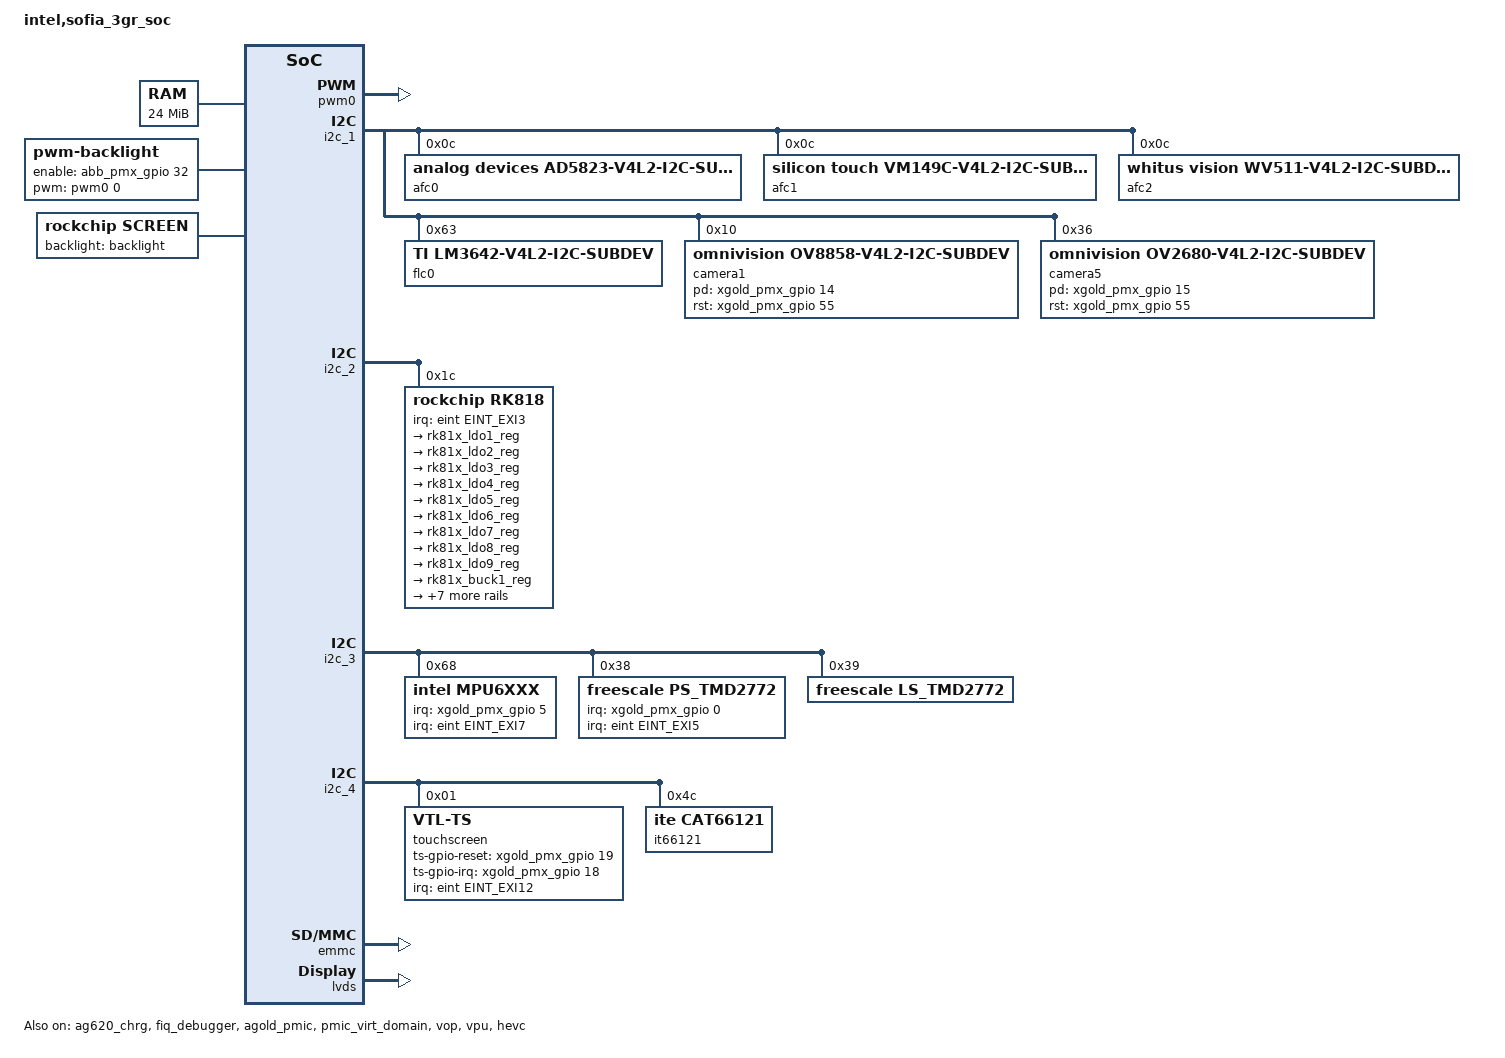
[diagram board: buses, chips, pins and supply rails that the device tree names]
/dts-v1/;


#include "xgold/sofia_3gr_soc/irq.h"
#include <dt-bindings/sensor-dev.h>
#include <dt-bindings/sofiafb/sofia_fb.h>

/ {
	#address-cells = <1>;
	#size-cells = <1>;
	model = "intel,sofia_3gr_soc";
	compatible = "intel,sofia_3gr_soc-svb", "intel,xgold";

	#include "xgold/sofia_3gr_soc/sofia_3gr_soc.dtsi"
	#include "xgold/sofia_3gr_soc/irq.dtsi"
	#include "xgold/mobilevisor/mobilevisor.dtsi"
	#include "xgold/sofia_3gr_soc/clock-es1.dtsi"
	#include "xgold/sofia_3gr_soc/regulator.dtsi"
	#include "xgold/sofia_3gr_soc/device-pm-reg.dtsi"
	#include "xgold/sofia_3gr_soc/cpufreq.dtsi"
	#include "xgold/pmic/granite.dtsi"
	#include "xgold/pmic/agold_pmic.dtsi"
	#include "xgold/pmic/syr82x.dtsi"
	#include "xgold/pmic/pmic_virt_domain.dtsi"
	chosen {
	};

	aliases {
	};

	memory {
		device_type = "memory";
		reg = <0x800000 0x1800000>;
	};

	reserved-memory {
		#address-cells = <1>;
		#size-cells = <1>;
		ranges;

		/* global autoconfigured region for contiguous allocations */
		cma_default_region: region@0 {
			size = <0x0A400000>; /* 164 MiB */
			limit = <0x20000000>; /* 512 MiB */
			linux,cma-default;
		};
		/* special region for secured processing devices */
		secured_region: region@8000000 {
			reg = <0x08000000 0x08000000>;
			no-map;
			linux,cma;
		};
	};

	vmodem {
		compatible = "intel,vmodem";
		reg = < 0x1D000000 0x02C00000 >;
	};

	ion {
		compatible = "rockchip,ion";
		#address-cells = <1>;
		#size-cells = <0>;
#ifndef RECOVERY_KERNEL
		secvm-handler;
#endif
		cma-heap {
			memory-region = <&cma_default_region>;
			rockchip,ion_heap = <4>;
		};
		system-heap {
			rockchip,ion_heap = <0>;
		};
		secured-heap {
			memory-region = <&secured_region>;
			rockchip,ion_heap = <5>;
		};
	};

	backlight: pwm-backlight {
                compatible = "pwm-backlight";
                brightness-levels = <
                         20  20  20  20  20  20  20  20
                         20  20  20  20  20  20  20  20
                         20  20  20  20  20  21  22  23
                         24  25  26  27  28  29  30  31
                         32  33  34  35  36  37  38  39
                         40  41  42  43  44  45  46  47
                         48  49  50  51  52  53  54  55
                         56  57  58  59  60  61  62  63
                         64  65  66  67  68  69  70  71
                         72  73  74  75  76  77  78  79
                         80  81  82  83  84  85  86  87
                         88  89  90  91  92  93  94  95
                         96  97  98  99 100 101 102 103
                        104 105 106 107 108 109 110 111
                        112 113 114 115 116 117 118 119
                        120 121 122 123 124 125 126 127
                        128 129 130 131 132 133 134 135
                        136 137 138 139 140 141 142 143
                        144 145 146 147 148 149 150 151
                        152 153 154 155 156 157 158 159
                        160 161 162 163 164 165 166 167
                        168 169 170 171 172 173 174 175
                        176 177 178 179 180 181 182 183
                        184 185 186 187 188 189 190 191
                        192 193 194 195 196 197 198 199
                        200 201 202 203 204 205 206 207
                        208 209 210 211 212 213 214 215
                        216 217 218 219 220 221 222 223
                        224 225 226 227 228 229 230 231
                        232 233 234 235 236 237 238 239
                        240 241 242 243 244 245 246 247
                        248 249 250 251 252 253 254 255>;
                default-brightness-level = <128>;
                enable-gpios = <&abb_pmx_gpio 32 0>;
                pinctrl-names = "default", "sleep", "inactive";
                pinctrl-0 = <&led_agold_default_pins>;
                pinctrl-1 = <&led_agold_sleep_pins>;
                pinctrl-2 = <&led_agold_inactive_pins>;
                pwms = <&pwm0 0 25000 PWM_POLARITY_INVERTED>;
        };

	hallsensor {
		compatible = "hall_och165t";
	  	interrupt-parent = <&eint>;
	  	interrupts = <EINT_EXI11 XGOLD_IRQ_TYPE_EDGE_FALLING>;
	  	pinctrl-names = "default", "sleep", "inactive";
	  	pinctrl-0 = <&hall_default_pins>;
	  	pinctrl-1 = <&hall_sleep_pins>;
	  	pinctrl-2 = <&hall_inactive_pins>;
		irq-gpio = <&xgold_pmx_gpio 32 IRQ_TYPE_LEVEL_LOW>;
		status = "disabled";
	};

	fb {
		compatible = "rockchip,fb";
		rockchip,disp-mode = <NO_DUAL>;
		rockchip,loader-logo-on = <1>;
		rockchip,ion-drv = "rockchip";
	};

	loader-charge {
		compatible = "rockchip,loader-charge";
		rockchip,loader-charge-on = <0>;
		rockchip,loader-weak-volt = <0>;
		rockchip,loader-weak-volt-dcp = <0>;
		rockchip,loader-weak-volt-sdp = <0>;
		rockchip,android-charge-on = <0>;
	};

	screen {
		compatible = "rockchip,screen","intel,screen";
		pm,class-name = "generic_class";
		pm,user-name = "lcd";
		pm,state-D0 = "enable";
		pm,state-D3 = "disable";
		backlight = <&backlight>;

		#include "xgold/display/lcd-claa070wp03xg.dtsi"
	};

	chrg_det: chrg_det {
		compatible = "sofia,chrg_det";
		status = "disabled";
	};

#ifndef RECOVERY_KERNEL
	sound {
		compatible = "intel,xgold-snd-asoc";
		intel,audio-codec = < &afe >;
		intel,pcm-audio = <&pcm_music>;
		intel,pcm-voice = <&pcm_voice>;
		intel,speech = <&speech_probe>;
		intel,jack = <&headset>;
	};
#endif
};

&idi_per {
	#include "xgold/agold620/agold620.dtsi"
};

&ag620_chrg {
	status = "okay";
};

&abb_pmx_gpio {
       intel,gpiochip-base = <107>;
};

&usif1 {
	pinctrl-names = "default", "sleep", "inactive";
	pinctrl-0 = <&usif1_function_C_active_pins>;
	pinctrl-1 = <&usif1_function_C_sleep_pins>;
	pinctrl-2 = <&usif1_function_C_inactive_pins>;
	status = "disabled";
};

&usif2 {
	pinctrl-names = "default", "sleep", "inactive";
	pinctrl-0 = <&usif2_default_pins>;
	pinctrl-1 = <&usif2_sleep_pins>;
	pinctrl-2 = <&usif2_inactive_pins>;
	status = "disabled";
};

&fiq_debugger {
		status = "okay";
};

&pwm0 {
	pinctrl-names = "default", "sleep", "inactive";
	pinctrl-0 = <&pwm0_default_pins>;
	pinctrl-1 = <&pwm0_sleep_pins>;
	pinctrl-2 = <&pwm0_inactive_pins>;
	status = "okay";
};

/* xuhf@rock-chips.com: modify dts for Compatibling with a variety of cameras */
&i2c_1 {
	status = "okay";
	pinctrl-names = "default", "sleep", "inactive";
	pinctrl-0 = <&i2c1_default_pins>;
	pinctrl-1 = <&i2c1_sleep_pins>;
	pinctrl-2 = <&i2c1_inactive_pins>;

#ifndef RECOVERY_KERNEL
	afc0: af-controller@0 {
		//status = "disabled";
		compatible = "analog devices,ad5823-v4l2-i2c-subdev";
		reg = < 0x0C >;
	};

	afc1: af-controller@1 {
		//status = "disabled";
		compatible = "silicon touch,vm149C-v4l2-i2c-subdev";
		reg = < 0x0c >;
	};

	afc2: af-controller@2 {
		//status = "disabled";
		compatible = "whitus vision,wv511-v4l2-i2c-subdev";
		reg = < 0x0C >;
	};
#endif

#ifndef RECOVERY_KERNEL
	flc0:fl-controller@0 {
		//status = "disabled";
		compatible = "TI,lm3642-v4l2-i2c-subdev";
		reg = < 0x63 >;
	};
#endif

#ifndef RECOVERY_KERNEL
	camera0: camera-module@0 {
		status = "disabled";
		compatible = "omnivision,ov13850-v4l2-i2c-subdev";
		reg = < 0x10 >;/*addr is 0x6C when SID set 0,else is 0x20*/ 
		device_type = "v4l2-i2c-subdev";

		pinctrl-names = "default", "sleep", "inactive";
		pinctrl-0 = <&cam1_default_pins>;
		pinctrl-1 = <&cam1_sleep_pins>;
		pinctrl-2 = <&cam1_inactive_pins>;

		intel,pd-gpio = <&xgold_pmx_gpio 14 0>;
		intel,pd-gpio-is_active_high;
		intel,rst-gpio = <&xgold_pmx_gpio 55 0>;
		intel,rst-gpio-is_active_high;

		pm,class-name = "generic_class";
		pm,user-name = "primcam";
		pm,state-D0 = "enable";
		pm,state-D3 = "disable";


		intel,camera-module-facing = "back";
		intel,camera-module-mounting = "landscape";
		intel,camera-module-flash-support = <1>;
		intel,camera-module-flash-exp-time = <5000>;

		//intel,af-ctrl = <&afc0>;
		intel,camera-module-csi-config-0 {
			intel,csi-pixels-per-second = <0>;
			intel,csi-vc = <0>;
			intel,csi-lanes = <2>;
			intel,csi-dphy1 = <0x2014203>;
			intel,csi-dphy2 = <0x00>;
			intel,csi-ana-bandgap-bias = <3>;
		};
		intel,camera-module-csi-config-1 {
			intel,csi-pixels-per-second = <100000000>;
			intel,csi-vc = <0>;
			intel,csi-lanes = <4>;
			intel,csi-dphy1 = <0x600e241>;
			intel,csi-dphy2 = <0x00>;
			intel,csi-ana-bandgap-bias = <3>;
			intel,csi-used = <0>;
		};
	};
#endif

#ifndef RECOVERY_KERNEL
	camera1: camera-module@1 {
		//status = "disabled";
		compatible = "omnivision,OV8858-v4l2-i2c-subdev";
		reg = < 0x10 >;/*addr is 0x6C when SID set 0,else is 0x20*/
		device_type = "v4l2-i2c-subdev";

		pinctrl-names = "default", "sleep", "inactive";
		pinctrl-0 = <&cam1_default_pins>;
		pinctrl-1 = <&cam1_sleep_pins>;
		pinctrl-2 = <&cam1_inactive_pins>;

		intel,pd-gpio = <&xgold_pmx_gpio 14 0>;
		intel,pd-gpio-is_active_high;
		intel,rst-gpio = <&xgold_pmx_gpio 55 0>;
		intel,rst-gpio-is_active_high;
		/*intel.flash-driver = "LM3642";*/
		/*intel,fl-ctrl = <&flc0>;*/
		

		pm,class-name = "generic_class";
		pm,user-name = "primcam";
		pm,state-D0 = "enable";
		pm,state-D3 = "disable";

		intel,camera-module-facing = "back";
		intel,camera-module-mounting = "landscape";
		intel,camera-module-flash-support = <1>;
		intel,camera-module-flash-exp-time = <5000>;
		rockchip,camera-module-name = "cmk-cb0695-fv1";
		rockchip,camera-module-len-name = "lg9569a2";

		intel,af-ctrl = <&afc1>;
		intel,camera-module-csi-config-0 {
			intel,csi-pixels-per-second = <0>;
			intel,csi-vc = <0>;
			intel,csi-lanes = <4>;
			intel,csi-dphy1 = <0x610a203>;
			intel,csi-dphy2 = <0x00>;
			intel,csi-ana-bandgap-bias = <3>;
			intel,csi-used = <0>;
		};
	};
#endif

#ifndef RECOVERY_KERNEL
	camera2: camera-module@2 {
		status = "disabled";
		compatible = "omnivision,OV5648-v4l2-i2c-subdev";
		reg = < 0x36 >;/*addr is 0x6C when SID set 0,else is 0x20*/
		device_type = "v4l2-i2c-subdev";

		pinctrl-names = "default", "sleep", "inactive";
		pinctrl-0 = <&cam1_default_pins>;
		pinctrl-1 = <&cam1_sleep_pins>;
		pinctrl-2 = <&cam1_inactive_pins>;

		intel,pd-gpio = <&xgold_pmx_gpio 14 0>;
		intel,pd-gpio-is_active_high;
		intel,rst-gpio = <&xgold_pmx_gpio 55 0>;
		intel,rst-gpio-is_active_high;

		pm,class-name = "generic_class";
		pm,user-name = "primcam";
		pm,state-D0 = "enable";
		pm,state-D3 = "disable";

		intel,camera-module-facing = "back";
		intel,camera-module-mounting = "landscape";
		intel,camera-module-flash-support = <1>;
		intel,camera-module-flash-exp-time = <5000>;
		rockchip,camera-module-name = "cmk-cw2392-fv1";
		rockchip,camera-module-len-name = "m5101";

		intel,af-ctrl = <&afc1>;
		intel,camera-module-csi-config-0 {
			intel,csi-pixels-per-second = <0>;
			intel,csi-vc = <0>;
			intel,csi-lanes = <2>;
			intel,csi-dphy1 = <0x6208203>;
			intel,csi-dphy2 = <0x00>;
			intel,csi-ana-bandgap-bias = <3>;
			intel,csi-used = <0>;
		};
	};
#endif

#ifndef RECOVERY_KERNEL
	camera3: camera-module@3 {
		status = "disabled";
		compatible = "superpix,sp2508-v4l2-i2c-subdev";
		reg = < 0x3c >;
		device_type = "v4l2-i2c-subdev";

		pinctrl-names = "default", "sleep", "inactive";
		pinctrl-0 = <&cam1_default_pins>;
		pinctrl-1 = <&cam1_sleep_pins>;
		pinctrl-2 = <&cam1_inactive_pins>;

		intel,pd-gpio = <&xgold_pmx_gpio 14 0>;
		intel,pd-gpio_1v2 = <&xgold_pmx_gpio 68 0>;
		intel,pd-gpio-is_active_low;
		intel,rst-gpio = <&xgold_pmx_gpio 55 0>;
		intel,rst-gpio-is_active_low;

		pm,class-name = "generic_class";
		pm,user-name = "primcam";
		pm,state-D0 = "enable";
		pm,state-D3 = "disable";

		/* ["front","back"] */
		intel,camera-module-facing = "back";
		/* ["landscape","landscape-flipped","portrait","portrait-flipped"] */
		intel,camera-module-mounting = "landscape";
		intel,camera-module-flash-support = <1>;
		intel,camera-module-flash-exp-time = <5000>;

		intel,camera-module-csi-config-0 {
			intel,csi-pixels-per-second = <0>;
			intel,csi-vc = <0>;
			intel,csi-lanes = <1>;
			intel,csi-dphy1 = <0x608a241>;
			intel,csi-dphy2 = <0x00>;
			intel,csi-ana-bandgap-bias = <3>;
			intel,csi-used = <0>;
		};
	};
#endif

#ifndef RECOVERY_KERNEL
	camera4: camera-module@4 {
		status = "disabled";
		compatible = "galaxycore,gc2155-v4l2-i2c-subdev";
		reg = < 0x3C >;/*addr is 0x6C when SID set 0,else is 0x20*/ 
		device_type = "v4l2-i2c-subdev";
		pinctrl-names = "default", "sleep", "inactive";
		pinctrl-0 = <&cam1_default_pins>;
		pinctrl-1 = <&cam1_sleep_pins>;
		pinctrl-2 = <&cam1_inactive_pins>;

		intel,pd-gpio = <&xgold_pmx_gpio 14 0>;
		intel,pd-gpio-is_active_low;
		intel,rst-gpio = <&xgold_pmx_gpio 55 0>;
		intel,rst-gpio-is_active_high;
		//intel,pd-gpio_1v2 = <&xgold_pmx_gpio 68 0>;

		pm,class-name = "generic_class";
		pm,user-name = "primcam";
		pm,state-D0 = "enable";
		pm,state-D3 = "disable";

		/* ["front","back"] */
		intel,camera-module-facing = "back";
		/* ["landscape","landscape-flipped","portrait","portrait-flipped"] */
		intel,camera-module-mounting = "landscape";
		intel,camera-module-flash-support = <1>;
		intel,camera-module-flash-exp-time = <5000>;

		intel,camera-module-csi-config-0 {
			intel,csi-pixels-per-second = <0>;
			intel,csi-vc = <0>;
			intel,csi-lanes = <2>;
			intel,csi-dphy1 = <0x2014203>;
			intel,csi-dphy2 = <0x00>;
			intel,csi-ana-bandgap-bias = <3>;
			intel,csi-used = <0>;
		};
		intel,camera-module-csi-config-1 {
			intel,csi-pixels-per-second = <100000000>;
			intel,csi-vc = <0>;
			intel,csi-lanes = <4>;
			intel,csi-dphy1 = <0x600e241>;
			intel,csi-dphy2 = <0x00>;
			intel,csi-ana-bandgap-bias = <3>;
			intel,csi-used = <0>;
		};
	};
#endif

#ifndef RECOVERY_KERNEL
	camera5: camera-module@5 {
		//status = "disabled";
		compatible = "omnivision,ov2680-v4l2-i2c-subdev";
		reg = < 0x36 >;/*addr is 0x6C when SID set 0,else is 0x20*/
		device_type = "v4l2-i2c-subdev";

		pinctrl-names = "default", "sleep", "inactive";
		pinctrl-0 = <&cam2_default_pins>;
		pinctrl-1 = <&cam2_sleep_pins>;
		pinctrl-2 = <&cam2_inactive_pins>;

		intel,pd-gpio = <&xgold_pmx_gpio 15 0>;
		intel,pd-gpio-is_active_high;
		intel,rst-gpio = <&xgold_pmx_gpio 55 0>;
		intel,rst-gpio-is_active_high;

		pm,class-name = "generic_class";
		pm,user-name = "seccam";
		pm,state-D0 = "enable";
		pm,state-D3 = "disable";

		intel,camera-module-facing = "front";
		intel,camera-module-mounting = "landscape";
		intel,camera-module-flash-support = <1>;
		intel,camera-module-flash-exp-time = <5000>;
		rockchip,camera-module-name = "cmk-cb0695-fv1";
		rockchip,camera-module-len-name = "cht835b";

		intel,camera-module-csi-config-0 {
			intel,csi-pixels-per-second = <0>;
			intel,csi-vc = <0>;
			intel,csi-lanes = <1>;
			intel,csi-dphy1 = <0x6284203>;
			intel,csi-dphy2 = <0x00>;
			intel,csi-ana-bandgap-bias = <3>;
			intel,csi-used = <1>;
		};

	};
#endif

#ifndef RECOVERY_KERNEL
	camera6: camera-module@6 {
		status = "disabled";
		compatible = "galaxycore,gc2355-v4l2-i2c-subdev";
		reg = < 0x3C >;/*addr is 0x6C when SID set 0,else is 0x20*/
		device_type = "v4l2-i2c-subdev";
		pinctrl-names = "default", "sleep", "inactive";
		pinctrl-0 = <&cam2_default_pins>;
		pinctrl-1 = <&cam2_sleep_pins>;
		pinctrl-2 = <&cam2_inactive_pins>;

		intel,pd-gpio = <&xgold_pmx_gpio 15 0>;
		intel,pd-gpio-is_active_low;
		intel,rst-gpio = <&xgold_pmx_gpio 55 0>;
		intel,rst-gpio-is_active_high;
		intel,pd-gpio_1v2 = <&xgold_pmx_gpio 68 0>;

		pm,class-name = "generic_class";
		pm,user-name = "seccam";
		pm,state-D0 = "enable";
		pm,state-D3 = "disable";

		/* ["front","back"] */
		intel,camera-module-facing = "front";
		/* ["landscape","landscape-flipped","portrait","portrait-flipped"] */
		intel,camera-module-mounting = "landscape";
		intel,camera-module-flash-support = <1>;
		intel,camera-module-flash-exp-time = <5000>;
		rockchip,camera-module-name = "cmk-cw-2392-fv1";
		rockchip,camera-module-len-name = "m206a-201";

		intel,camera-module-csi-config-0 {
			intel,csi-pixels-per-second = <0>;
			intel,csi-vc = <0>;
			intel,csi-lanes = <1>;
			intel,csi-dphy1 = <0x6210203>;
			intel,csi-dphy2 = <0x00>;
			intel,csi-ana-bandgap-bias = <3>;
			intel,csi-used = <1>;
		};
	};
#endif

#ifndef RECOVERY_KERNEL
	camera7: camera-module@7 {
		status = "disabled";
		compatible = "galaxycore,gc0310-v4l2-i2c-subdev";
		reg = < 0x21 >;/* 7bit address*/
		device_type = "v4l2-i2c-subdev";

		pinctrl-names = "default", "sleep", "inactive";
		pinctrl-0 = <&cam2_default_pins>;
		pinctrl-1 = <&cam2_sleep_pins>;
		pinctrl-2 = <&cam2_inactive_pins>;

		intel,pd-gpio = <&xgold_pmx_gpio 15 0>;
		intel,pd-gpio-is_active_low;

		pm,class-name = "generic_class";
		pm,user-name = "seccam";
		pm,state-D0 = "enable";
		pm,state-D3 = "disable";

		intel,camera-module-facing = "front";
		/* ["landscape","landscape-flipped","portrait","portrait-flipped"] */
		intel,camera-module-mounting = "landscape";
		intel,camera-module-flash-support = <1>;
		intel,camera-module-flash-exp-time = <5000>;

		intel,camera-module-csi-config-0 {
			intel,csi-pixels-per-second = <0>;
			intel,csi-vc = <0>;
			intel,csi-lanes = <1>;
			intel,csi-dphy1 = <0x6012229>;
			intel,csi-dphy2 = <0x00>;
			intel,csi-ana-bandgap-bias = <3>;
			intel,csi-used = <1>;
		};
	};
#endif

#ifndef RECOVERY_KERNEL
	camera8: camera-module@8 {
		status = "disabled";
		compatible = "superpix,sp0a20-v4l2-i2c-subdev";
		reg = < 0x21 >;
		device_type = "v4l2-i2c-subdev";

		pinctrl-names = "default", "sleep", "inactive";
		pinctrl-0 = <&cam2_default_pins>;
		pinctrl-1 = <&cam2_sleep_pins>;
		pinctrl-2 = <&cam2_inactive_pins>;

		intel,rst-gpio = <&xgold_pmx_gpio 55 0>;
		intel,rst-gpio-is_active_high;
		intel,pd-gpio = <&xgold_pmx_gpio 15 0>;
		intel,pd-gpio-is_active_low;

		pm,class-name = "generic_class";
		pm,user-name = "seccam";
		pm,state-D0 = "enable";
		pm,state-D3 = "disable";

		intel,camera-module-facing = "front";
		/* ["landscape","landscape-flipped","portrait","portrait-flipped"] */
		intel,camera-module-mounting = "landscape";
		intel,camera-module-flash-support = <1>;
		intel,camera-module-flash-exp-time = <5000>;

		intel,camera-module-csi-config-0 {
			intel,csi-pixels-per-second = <0>;
			intel,csi-vc = <0>;
			intel,csi-lanes = <1>;
			intel,csi-dphy1 = <0x608a241>;
			intel,csi-dphy2 = <0x00>;
			intel,csi-ana-bandgap-bias = <3>;
			intel,csi-used = <1>;
		};
	};
#endif
};

&i2c_2 {
	status = "okay";

	rk818: rk818@1c {
		reg = <0x1c>;
		status = "okay";
		compatible = "rockchip,rk818";
		interrupt-parent = <&eint>;
		interrupts = < EINT_EXI3 XGOLD_IRQ_TYPE_EDGE_FALLING >;
		pinctrl-names = "default", "sleep", "inactive";
		pinctrl-0 = <&pmu_default_pins>;
		pinctrl-1 = <&pmu_sleep_pins>;
		pinctrl-2 = <&pmu_inactive_pins>;
		notify_usb_det = <0>;
		pm,class-name = "generic_class";
		pm,user-name = "rk818_otg";
		pm,state-D0 = "enable";
		pm,state-D3 = "disable";
		regulators {
			rk81x_ldo1_reg: regulator@0 {
				regulator-name = "rk_ldo1";
				regulator-domain = <PMIC_DOMAIN_PMIC_LDO1>;
				regulator-init-pulldown = <PMIC_PULLDOWN_FIXED>;
				regulator-init-mode = <PMIC_MODE_OFF>;
				regulator-init-voltage = <PMIC_VOLTAGE_1V80>;
				regulator-81x-init-mode = <PMIC_MODE_ON>;
				regulator-81x-init-volt = <PMIC_VOLTAGE_1V80>;
				regulator-81x-slp-mode = <PMIC_MODE_ON>;
				regulator-81x-slp-volt = <PMIC_VOLTAGE_1V80>;
			};

			rk81x_ldo2_reg: regulator@1 {
				regulator-name = "rk_ldo2";
				regulator-domain = <PMIC_DOMAIN_PMIC_LDO2>;
				regulator-init-pulldown = <PMIC_PULLDOWN_FIXED>;
				regulator-init-mode = <PMIC_MODE_OFF>;
				regulator-init-voltage = <PMIC_VOLTAGE_1V80>;
				regulator-81x-init-mode = <PMIC_MODE_ON>;
				regulator-81x-init-volt = <PMIC_VOLTAGE_1V80>;
				regulator-81x-slp-mode = <PMIC_MODE_OFF>;
				regulator-81x-slp-volt = <PMIC_VOLTAGE_1V80>;
				regulator-slb-dis-on;
			};

			rk81x_ldo3_reg: regulator@2 {
				regulator-name = "rk_ldo3";
				regulator-domain = <PMIC_DOMAIN_PMIC_LDO3>;
				regulator-init-pulldown = <PMIC_PULLDOWN_FIXED>;
				regulator-init-mode = <PMIC_MODE_OFF>;
				regulator-init-voltage = <PMIC_VOLTAGE_1V80>;
				regulator-81x-init-mode = <PMIC_MODE_ON>;
				regulator-81x-init-volt = <PMIC_VOLTAGE_1V80>;
				regulator-81x-slp-mode = <PMIC_MODE_OFF>;
				regulator-81x-slp-volt = <PMIC_VOLTAGE_1V80>;
			};

			rk81x_ldo4_reg: regulator@3 {
				regulator-name = "rk_ldo4";
				regulator-domain = <PMIC_DOMAIN_PMIC_LDO4>;
				regulator-init-pulldown = <PMIC_PULLDOWN_FIXED>;
				regulator-init-mode = <PMIC_MODE_ON>;
				regulator-init-voltage = <PMIC_VOLTAGE_1V80>;
				regulator-81x-init-mode = <PMIC_MODE_ON>;
				regulator-81x-init-volt = <PMIC_VOLTAGE_1V80>;
				regulator-81x-slp-mode = <PMIC_MODE_ON>;
				regulator-81x-slp-volt = <PMIC_VOLTAGE_1V80>;
			};

			rk81x_ldo5_reg: regulator@4 {
				regulator-name = "rk_ldo5";
				regulator-domain = <PMIC_DOMAIN_PMIC_LDO5>;
				regulator-init-pulldown = <PMIC_PULLDOWN_FIXED>;
				regulator-init-mode = <PMIC_MODE_ON>;
				regulator-init-voltage = <PMIC_VOLTAGE_1V80>;
				regulator-81x-init-mode = <PMIC_MODE_ON>;
				regulator-81x-init-volt = <PMIC_VOLTAGE_1V80>;
				regulator-81x-slp-mode = <PMIC_MODE_ON>;
				regulator-81x-slp-volt = <PMIC_VOLTAGE_1V80>;
			};

			rk81x_ldo6_reg: regulator@5 {
				regulator-name = "rk_ldo6";
				regulator-domain = <PMIC_DOMAIN_PMIC_LDO6>;
				regulator-init-pulldown = <PMIC_PULLDOWN_FIXED>;
				regulator-init-mode = <PMIC_MODE_OFF>;
				regulator-init-voltage = <PMIC_VOLTAGE_FIXED>;
				regulator-81x-init-mode = <PMIC_MODE_ON>;
				regulator-81x-init-volt = <PMIC_VOLTAGE_1V20>;
				regulator-81x-slp-mode = <PMIC_MODE_OFF>;
				regulator-81x-slp-volt = <PMIC_VOLTAGE_1V20>;
			};

			rk81x_ldo7_reg: regulator@6 {
				regulator-name = "rk_ldo7";
				regulator-domain = <PMIC_DOMAIN_PMIC_LDO7>;
				regulator-init-pulldown = <PMIC_PULLDOWN_FIXED>;
				regulator-init-mode = <PMIC_MODE_OFF>;
				regulator-init-voltage = <PMIC_VOLTAGE_FIXED>;
				regulator-81x-init-mode = <PMIC_MODE_ON>;
				regulator-81x-init-volt = <PMIC_VOLTAGE_1V20>;
				regulator-81x-slp-mode = <PMIC_MODE_OFF>;
				regulator-81x-slp-volt = <PMIC_VOLTAGE_1V10>;
			};

			rk81x_ldo8_reg: regulator@7 {
				regulator-name = "rk_ldo8";
				regulator-domain = <PMIC_DOMAIN_PMIC_LDO8>;
				regulator-init-pulldown = <PMIC_PULLDOWN_FIXED>;
				regulator-init-mode = <PMIC_MODE_ON>;
				regulator-init-voltage = <PMIC_VOLTAGE_3V00>;
				regulator-81x-init-mode = <PMIC_MODE_ON>;
				regulator-81x-init-volt = <PMIC_VOLTAGE_3V00>;
				regulator-81x-slp-mode = <PMIC_MODE_OFF>;
				regulator-81x-slp-volt = <PMIC_VOLTAGE_3V00>;
			};

			rk81x_ldo9_reg: regulator@8 {
				regulator-name = "rk_ldo9";
				regulator-domain = <PMIC_DOMAIN_PMIC_LDO9>;
				regulator-init-pulldown = <PMIC_PULLDOWN_FIXED>;
				regulator-init-mode = <PMIC_MODE_OFF>;
				regulator-init-voltage = <PMIC_VOLTAGE_FIXED>;
				regulator-81x-init-mode = <PMIC_MODE_ON>;
				regulator-81x-init-volt = <PMIC_VOLTAGE_1V80>;
				regulator-81x-slp-mode = <PMIC_MODE_OFF>;
				regulator-81x-slp-volt = <PMIC_VOLTAGE_1V80>;
			};

			rk81x_buck1_reg: regulator@9 {
				regulator-name = "rk_buck1";
				regulator-domain = <PMIC_DOMAIN_PMIC_BUCK1>;
				regulator-init-pulldown = <PMIC_PULLDOWN_FIXED>;
				regulator-init-mode = <PMIC_MODE_ON>;
				regulator-init-voltage = <PMIC_VOLTAGE_1V10>;
				regulator-81x-init-mode = <PMIC_MODE_ON>;
				regulator-81x-init-volt = <PMIC_VOLTAGE_1V30>;
				regulator-81x-slp-mode = <PMIC_MODE_ON>;
				regulator-81x-slp-volt = <PMIC_VOLTAGE_0V90>;
			};

			rk81x_buck2_reg: regulator@10 {
				regulator-name = "rk_buck2";
				regulator-domain = <PMIC_DOMAIN_PMIC_BUCK2>;
				regulator-init-pulldown = <PMIC_PULLDOWN_FIXED>;
				regulator-init-mode = <PMIC_MODE_ON>;
				regulator-init-voltage = <PMIC_VOLTAGE_1V10>;
				regulator-81x-init-mode = <PMIC_MODE_ON>;
				regulator-81x-init-volt = <PMIC_VOLTAGE_1V20>;
				regulator-81x-slp-mode = <PMIC_MODE_ON>;
				regulator-81x-slp-volt = <PMIC_VOLTAGE_0V90>;
			};

			rk81x_buck3_reg: regulator@11 {
				regulator-name = "rk_buck3";
				regulator-domain = <PMIC_DOMAIN_PMIC_BUCK3>;
				regulator-init-pulldown = <PMIC_PULLDOWN_FIXED>;
				regulator-init-mode = <PMIC_MODE_OFF>;
				regulator-init-voltage = <PMIC_VOLTAGE_1V20>;
				regulator-81x-init-mode = <PMIC_MODE_ON>;
				regulator-81x-init-volt = <PMIC_VOLTAGE_1V20>;
				regulator-81x-slp-mode = <PMIC_MODE_ON>;
				regulator-81x-slp-volt = <PMIC_VOLTAGE_0V90>;
			};

			rk81x_buck4_reg: regulator@12 {
				regulator-name = "rk_buck4";
				regulator-domain = <PMIC_DOMAIN_PMIC_BUCK4>;
				regulator-init-pulldown = <PMIC_PULLDOWN_FIXED>;
				regulator-init-mode = <PMIC_MODE_OFF>;
				regulator-init-voltage = <PMIC_VOLTAGE_3V00>;
				regulator-81x-init-mode = <PMIC_MODE_ON>;
				regulator-81x-init-volt = <PMIC_VOLTAGE_3V00>;
				regulator-81x-slp-mode = <PMIC_MODE_ON>;
				regulator-81x-slp-volt = <PMIC_VOLTAGE_3V00>;
			};

			rk81x_boost_reg: regulator@13 {
				regulator-name = "rk_boost";
				regulator-domain = <PMIC_DOMAIN_PMIC_BOOST>;
				regulator-init-pulldown = <PMIC_PULLDOWN_FIXED>;
				regulator-init-mode = <PMIC_MODE_OFF>;
				regulator-init-voltage = <PMIC_VOLTAGE_5V00>;
				regulator-81x-init-mode = <PMIC_MODE_ON>;
				regulator-81x-init-volt = <PMIC_VOLTAGE_5V00>;
				regulator-81x-slp-mode = <PMIC_MODE_OFF>;
				regulator-81x-slp-volt = <PMIC_VOLTAGE_5V00>;
			};

			rk81x_vswout_reg: regulator@14 {
				regulator-name = "rk_vswout";
				regulator-domain = <PMIC_DOMAIN_PMIC_VSWOUT>;
				regulator-init-pulldown = <PMIC_PULLDOWN_FIXED>;
				regulator-init-mode = <PMIC_MODE_OFF>;
				regulator-init-voltage = <PMIC_VOLTAGE_3V00>;
				regulator-81x-init-mode = <PMIC_MODE_ON>;
				regulator-81x-init-volt = <PMIC_VOLTAGE_3V00>;
				regulator-81x-slp-mode = <PMIC_MODE_OFF>;
				regulator-slb-dis-on;
			};

			rk81x_h_5v_reg: regulator@15 {
				regulator-name = "rk_h_5v";
				regulator-domain = <PMIC_DOMAIN_H_5V>;
				regulator-81x-init-mode = <PMIC_MODE_ON>;
				regulator-81x-slp-mode = <PMIC_MODE_ON>;
			};

			rk81x_otg_reg: regulator@16 {
				regulator-name = "rk_otg";
				regulator-domain = <PMIC_DOMAIN_PMIC_OTG_5V>;
				regulator-81x-init-mode = <PMIC_MODE_OFF>;
				regulator-81x-slp-mode = <PMIC_MODE_OFF>;
			};
		};

		battery {
			ocv_table = <3350 3677 3693 3719 3752 3770 3775
				     3778 3785 3796 3812 3839 3881 3907
				     3933 3958 3978 4033 4087 4123 4174>;
			design_capacity = <4000>;
			design_qmax = <4100>;
			max_overcharge = <100>;
			max_charge_currentmA = <1500>;
			max_charge_voltagemV = <4260>;
			max_bat_voltagemV = <4200>;
			sleep_enter_current = <150>;
			sleep_exit_current = <180>;
			virtual_power = <1>;
		};
	};
};

&i2c_3 {
	status = "okay";
	pinctrl-names = "default", "sleep", "inactive";
	pinctrl-0 = <&i2c3_default_pins>;
	pinctrl-1 = <&i2c3_sleep_pins>;
	pinctrl-2 = <&i2c3_inactive_pins>;

	mpu6xxx {
        	compatible = "intel,mpu6xxx";
        	reg = <0x68>;
                interrupt-parent = <&eint>;
                interrupts = < EINT_EXI7 XGOLD_IRQ_TYPE_EDGE_RISING >;
                pinctrl-names = "default", "sleep", "inactive";
                pinctrl-0 = <&gyroscope_default_pins>;
                pinctrl-1 = <&gyroscope_sleep_pins>;
                pinctrl-2 = <&gyroscope_inactive_pins>;
       		mpu-int_config = <0x10>;
       	        mpu-level_shifter = <0>;
        	mpu-orientation = <0 1 0 1 0 0 0 0 1>;
        	orientation-x= <1>;
        	orientation-y= <0>;
        	orientation-z= <0>;
        	irq-gpio = <&xgold_pmx_gpio 5>;
			sec_slave_addr = <0x0d>;
			sec_slave_type = <SECONDARY_SLAVE_TYPE_COMPASS>;
			sec_slave_id = <18>;
			sec_layout = <3>;  //aa 3 -10  			
        	mpu-debug = <1>;
		pm,class-name = "mpu6xxx_class";
		pm,user-name = "gyroscope";
		pm,state-D0 = "enable";
		pm,state-D3 = "disable";
        };
	ps_tmd2772 {
          	compatible = "freescale,ps_tmd2772";
          	reg = <0x38>;
          	type = <SENSOR_TYPE_PROXIMITY>;
	  	interrupt-parent = <&eint>;
	  	interrupts = < EINT_EXI5 XGOLD_IRQ_TYPE_LEVEL_LOW >;
	  	pinctrl-names = "default", "sleep", "inactive";
	  	pinctrl-0 = <&prox_default_pins>;
	  	pinctrl-1 = <&prox_sleep_pins>;
	  	pinctrl-2 = <&prox_inactive_pins>;           
		irq-gpio = <&xgold_pmx_gpio 0 IRQ_TYPE_LEVEL_LOW>; 
          	irq_enable = <1>;
          	poll_delay_ms = <30>;
          	ps_threshold_low = <70>;
			ps_threshold_high = <120>;
          	layout = <1>;
	  	pm,class-name = "ps_tmd2772_class";
	  	pm,user-name = "gyroscope";
   	};
   	ls_tmd2772 {
          	compatible = "freescale,ls_tmd2772";
          	reg = <0x39>;
          	type = <SENSOR_TYPE_LIGHT>;            
          	irq_enable = <0>;
          	poll_delay_ms = <200>;
          	layout = <1>;
	  	pm,class-name = "ls_tmd2772_class";
	  	pm,user-name = "gyroscope";
   	};

	bq24150a {
                status = "disabled";
                compatible = "ti,bq24150a";
                reg = <0x6a>;
                ti,current-limit = <100>;
                ti,weak-battery-voltage = <3400>;
                ti,battery-regulation-voltage = <4200>;
                ti,charge-current = <650>;
                ti,termination-current = <100>;
                ti,resistor-sense = <68>;

                ti,usb-charger-detection = <&chrg_det>;
        };
};

&i2c_4 {
	status = "okay";
	pinctrl-names = "default", "sleep", "inactive";
	pinctrl-0 = <&i2c4_default_pins>;
	pinctrl-1 = <&i2c4_sleep_pins>;
	pinctrl-2 = <&i2c4_inactive_pins>;
	touchscreen {
		compatible = "VTL-TS";
		reg = < 0x01 >;
		interrupt-parent = <&eint>;
		xy-swap-enable = < 1 >;
		x-reverse-enable = < 0 >;
		y-reverse-enable = < 1 >;
		chip-diff = < 1 >; /* 1:CT362,2:CT363S(1080P) */
		interrupts = < EINT_EXI12 XGOLD_IRQ_TYPE_EDGE_FALLING >;
		pinctrl-names = "default", "sleep", "inactive";
		pinctrl-0 = <&touch_default_pins>;
		pinctrl-1 = <&touch_sleep_pins>;
		pinctrl-2 = <&touch_inactive_pins>;
		intel,ts-gpio-reset = <&xgold_pmx_gpio 19 0>;
		intel,ts-gpio-irq = <&xgold_pmx_gpio 18 0>;
		pm,class-name = "gt9xx_class";
		pm,user-name = "tp";
		pm,state-D0 = "enable";
		pm,state-D3 = "disable";
		intel,max-x = <800>;
		intel,max-y = <1280>;
	};

	it66121 {
		compatible = "ite,cat66121";
		reg = <0x4c>;
		pinctrl-names = "default", "sleep", "inactive", "dif";
		pinctrl-0 = <&hdmi_default_pins>;
		pinctrl-1 = <&hdmi_sleep_pins>;
		pinctrl-2 = <&hdmi_inactive_pins>;
		pinctrl-3 = <&dif_highdrv_pins>;
	};
};

&i2c_5 {
	pinctrl-names = "default", "sleep", "inactive";
	pinctrl-0 = <&i2c5_agold_default_pins>;
	pinctrl-1 = <&i2c5_agold_sleep_pins>;
	pinctrl-2 = <&i2c5_agold_inactive_pins>;

};

&agold_pmic {
	status = "okay";
};

&syr82x {
	status = "disabled";
};


&pmic_virt_domain {
	status = "okay";
	virt_domain {
		vddp_mmc_reg {
			virt-domain = <PMIC_VDDP_MMC>;
			pmu-domain = <PMIC_DOMAIN_LMMC1>;
		};

		vddp_mmc_td_reg {
			virt-domain = <PMIC_VDDP_MMC_TD>;
			pmu-domain = <PMIC_DOMAIN_NOTCFG>;
		};

		/* IO power supply, don't switch off,
		 * so map to PMIC_DOMAIN_NOTCFG */
		vdd_vemmc_reg {
			virt-domain = <PMIC_VDD_VEMMC>;
			pmu-domain = <PMIC_DOMAIN_NOTCFG>;
		};

		vdd_sdio_reg {
			virt-domain = <PMIC_VDD_SDIO>;
			pmu-domain = <PMIC_DOMAIN_NOTCFG>;
		};

		vdd_mipi_csi_reg {
			virt-domain = <PMIC_VDD_MIPI_CSI>;
			pmu-domain = <PMIC_DOMAIN_NOTCFG>;
		};

		vdd_mipi_dsi_reg {
			virt-domain = <PMIC_VDD_MIPI_DSI>;
			pmu-domain = <PMIC_DOMAIN_LMIPI>;
		};

		vdd_digrf1_reg {
			virt-domain = <PMIC_VDD_DIGRF1>;
			pmu-domain = <PMIC_DOMAIN_LMIPI>;
		};

		vdd_usb_1v1_reg {
			virt-domain = <PMIC_VDD_USB_1V1>;
			pmu-domain = <PMIC_DOMAIN_LAIF>;
		};

		vdd_emic_dll_reg {
			virt-domain = <PMIC_VDD_EMIC_DLL>;
			pmu-domain = <PMIC_DOMAIN_PMIC_LDO3>;
		};

		vdd_idi_rx_reg {
			virt-domain = <PMIC_VDD_IDI_RX>;
			pmu-domain = <PMIC_DOMAIN_LAIF>;
		};

		vdd_usb_3v3_reg {
			virt-domain = <PMIC_VDD_USB_3V3>;
			pmu-domain = <PMIC_DOMAIN_LUSB>;
		};

		vddp_sim_reg {
			virt-domain = <PMIC_VDDP_SIM>;
			pmu-domain = <PMIC_DOMAIN_LSIM1>;
		};

		vddp_sim2_reg {
			virt-domain = <PMIC_VDDP_SIM2>;
			pmu-domain = <PMIC_DOMAIN_LSIM2>;
		};

		vdd_io_volt_touch_sensor_reg {
			virt-domain = <PMIC_VDD_IO_VOLT_TOUCH_SENSOR>;
			pmu-domain = <PMIC_DOMAIN_NOTCFG>;
		};

		vdd_cam_prim_analog_reg {
			virt-domain = <PMIC_VDD_CAM_PRIM_ANALOG>;
			pmu-domain = <PMIC_DOMAIN_LAUX1>;
		};

		vdd_cam_sec_analog_reg {
			virt-domain = <PMIC_VDD_CAM_SEC_ANALOG>;
			pmu-domain = <PMIC_DOMAIN_LAUX1>;
		};

		vdd_prim_display_reg {
			virt-domain = <PMIC_VDD_PRIM_DISPLAY>;
			pmu-domain = <PMIC_DOMAIN_PMIC_VSWOUT>;
		};

		vdd_touch_sensor_reg {
			virt-domain = <PMIC_VDD_TOUCH_SENSOR>;
			pmu-domain = <PMIC_DOMAIN_NOTCFG>;
		};

		vdd_proximity_sensor_reg {
			virt-domain = <PMIC_VDD_PROXIMITY_SENSOR>;
			pmu-domain = <PMIC_DOMAIN_LAUX2>;
		};

		vdd_accelerometer_reg {
			virt-domain = <PMIC_VDD_ACCELEROMETER>;
			pmu-domain = <PMIC_DOMAIN_LAUX2>;
		};

		vdd_magnetometer_reg {
			virt-domain = <PMIC_VDD_MAGNETOMETER>;
			pmu-domain = <PMIC_DOMAIN_LAUX2>;
		};

		vdd_gyroscope_reg {
			virt-domain = <PMIC_VDD_GYROSCOPE>;
			pmu-domain = <PMIC_DOMAIN_LAUX2>;
		};

		vdd_abb_gnss_tcxo_ldo_reg {
			virt-domain = <PMIC_VDD_ABB_GNSS_TCXO_LDO>;
			pmu-domain = <PMIC_DOMAIN_GNSS_TCXO_LDO>;
		};

		vddp_vemmc_p_reg {
			virt-domain = <PMIC_VDDP_VEMMC_P>;
			pmu-domain = <PMIC_DOMAIN_NOTCFG>;
		};

		vdd_cam_prim_digital_reg {
			virt-domain = <PMIC_VDD_CAM_PRIM_DIGITAL>;
			pmu-domain = <PMIC_DOMAIN_NOTCFG>;
		};

		vdd_cam_prim_io_reg {
			virt-domain = <PMIC_VDD_CAM_PRIM_IO>;
			pmu-domain = <PMIC_DOMAIN_LAUX2>;
		};

		vdd_cam_prim_af_reg {
			virt-domain = <PMIC_VDD_CAM_PRIM_AF>;
			pmu-domain = <PMIC_DOMAIN_NOTCFG>;
		};

		vdd_cam_sec_digital_reg {
			virt-domain = <PMIC_VDD_CAM_SEC_DIGITAL>;
			pmu-domain = <PMIC_DOMAIN_NOTCFG>;
		};

		vdd_cam_sec_io_reg {
			virt-domain = <PMIC_VDD_CAM_SEC_IO>;
			pmu-domain = <PMIC_DOMAIN_LAUX2>;
		};

		vdd_cam_sec_af_reg {
			virt-domain = <PMIC_VDD_CAM_SEC_AF>;
			pmu-domain = <PMIC_DOMAIN_NOTCFG>;
		};

		vdd_prim_disp_backlight_reg {
			virt-domain = <PMIC_VDD_PRIM_DISP_BACKLIGHT>;
			pmu-domain = <PMIC_DOMAIN_NOTCFG>;
		};

		vdd_sd_card_reg {
			virt-domain = <PMIC_VDD_SD_CARD>;
			pmu-domain = <PMIC_DOMAIN_PMIC_LDO8>;
		};

		vdd_emmc_reg {
			virt-domain = <PMIC_VDD_EMMC>;
			pmu-domain = <PMIC_DOMAIN_PMIC_BUCK4>;
		};

		vdd_vcpu_reg {
			virt-domain = <PMIC_VDD_VCPU>;
			pmu-domain = <PMIC_DOMAIN_PMIC_BUCK1>;
		};

		vdd_lvds_1v8_reg {
			virt-domain = <PMIC_VDD_LVDS_1V8>;
			pmu-domain = <PMIC_DOMAIN_PMIC_LDO2>;
		};

		vdd_h_5v_reg {
			virt-domain = <PMIC_VDD_H_5V>;
			pmu-domain = <PMIC_DOMAIN_PMIC_BOOST>;
		};

		vdd_gpu_reg {
			virt-domain = <PMIC_VDD_GPU>;
			pmu-domain = <PMIC_DOMAIN_PMIC_BUCK2>;
		};

		vdd_lcd_dsi_reg {
			virt-domain = <PMIC_VDD_LCD_DSI>;
			pmu-domain = <PMIC_DOMAIN_NOTCFG>;
		};

		vdd_gps_2v5_reg {
			virt-domain = <PMIC_VDD_GPS_2V5>;
			pmu-domain = <PMIC_DOMAIN_NOTCFG>;
		};

		vdd_dif_lcd_rgb_reg {
			virt-domain = <PMIC_VDD_DIF_LCD_RGB>;
			pmu-domain = <PMIC_DOMAIN_NOTCFG>;
		};

		vdd_otg_5v_reg {
			virt-domain = <PMIC_VDD_OTG_5V>;
			pmu-domain = <PMIC_DOMAIN_PMIC_OTG_5V>;
		};

		vdd_deprecated_reg {
			virt-domain = <PMIC_VDD_DEPRECATED>;
			pmu-domain = <PMIC_DOMAIN_NOTCFG>;
		};
	};
};

&lemmc {
	regulator-always-on;
};

&gnss {
    pinctrl-names = "default", "sleep", "inactive", "default_lna", "inactive_lna", "default_fta", "inactive_fta", "gnss_default", "gnss_inactive";
    pinctrl-0 = <&tcxo_agold_default_pins>;
    pinctrl-1 = <&tcxo_agold_sleep_pins>;
    pinctrl-2 = <&tcxo_agold_inactive_pins>;
    pinctrl-3 = <&ext_agold_default_pins>;
    pinctrl-4 = <&ext_agold_sleep_pins>;
    pinctrl-5 = <&gnss_agold_default_pins>;
    pinctrl-6 = <&gnss_agold_sleep_pins>;
    pinctrl-7 = <&gnss_default_pins>;
    pinctrl-8 = <&gnss_inactive_pins>;
};

#ifndef RECOVERY_KERNEL
&afe {
	pinctrl-names = "default", "sleep", "inactive";
	pinctrl-0 = <&dm_agold_default_pins>;
	pinctrl-1 = <&dm_agold_sleep_pins>;
	pinctrl-2 = <&dm_agold_inactive_pins>;
};
#endif

&sd {
	intel,tap_values = <0x080400F5 0x08040004 0x00040004 0x08040004 0x5CF501A5 0x00F500A5 0x00F500A5>;
	pinctrl-names = "default", "sleep", "inactive";
	pinctrl-0 = <&sdmmc_default_pins>;
	pinctrl-1 = <&sdmmc_sleep_pins>;
	pinctrl-2 = <&sdmmc_inactive_pins>;
};

&emmc {
	intel,tap_values = <0x080400F5 0x08040004 0x00040004 0x08040004 0x08040004 0x000400B5 0x000400B5>;
	pinctrl-names = "default", "sleep", "inactive";
	pinctrl-0 = <&emmc_default_pins>;
	pinctrl-1 = <&emmc_sleep_pins>;
	pinctrl-2 = <&emmc_inactive_pins>;
	status = "okay";
};

&nand {
	pinctrl-names = "default", "sleep", "inactive";
	pinctrl-0 = <&nand_function_B_active_pins>;
	pinctrl-1 = <&nand_function_B_sleep_pins>;
	pinctrl-2 = <&nand_function_B_inactive_pins>;
        status = "disabled";
};

&keypad {
	pinctrl-names = "default", "sleep", "inactive";
	pinctrl-0 = <&kp_default_pins>;
	pinctrl-1 = <&kp_sleep_pins>;
	pinctrl-2 = <&kp_inactive_pins>;
	keypad,num-rows = <4>;
	keypad,num-columns = <8>;
	keypad,rows = <3>;
	keypad,columns = <3 4>;
	linux,keymap = <0x03030072	/* KEY_VOLUMEDOWN */
			0x03040073>;	/* KEY_VOLUMEUP */
	keypad,kp_in3 = <116>;	/*KEY_POWER*/	
	keypad,kp_in4 = <172>; /*KEY_HOMEPAGE*/
};

&lvds {
	status = "okay";

	pinctrl-names = "default", "sleep", "inactive";
	pinctrl-0 = <&lvds_default_pins>;
	pinctrl-1 = <&lvds_sleep_pins>;
	pinctrl-2 = <&lvds_inactive_pins>;
};

&mipi_dsi {
	status = "disabled";
};

&vop {
	status = "okay";
	rockchip,fb-win-map = <FB_DEFAULT_ORDER>;
	rockchip,iommu-enabled = <1>;
	uhigh_perf_freq = <134000000>;
};

#ifndef RECOVERY_KERNEL
&cif {
	intel,camera-modules-attached = <&camera0 &camera1 &camera2 &camera3 &camera4 &camera5 &camera6 &camera7 &camera8>;
}; /* xuhf@rock-chips.com: modify dts for Compatibling with a variety of cameras */
#endif
#ifndef RECOVERY_KERNEL
&vpu {
	status = "okay";
};
#endif
#ifndef RECOVERY_KERNEL
&hevc {
	status = "okay";
};
#endif
#include "xgold/agold620/pinctrl-ag620-sf_3gr-svb.dtsi"
#include "xgold/sofia_3gr_soc/pinctrl-sf_3gr-es1-svb-rk.dtsi"
